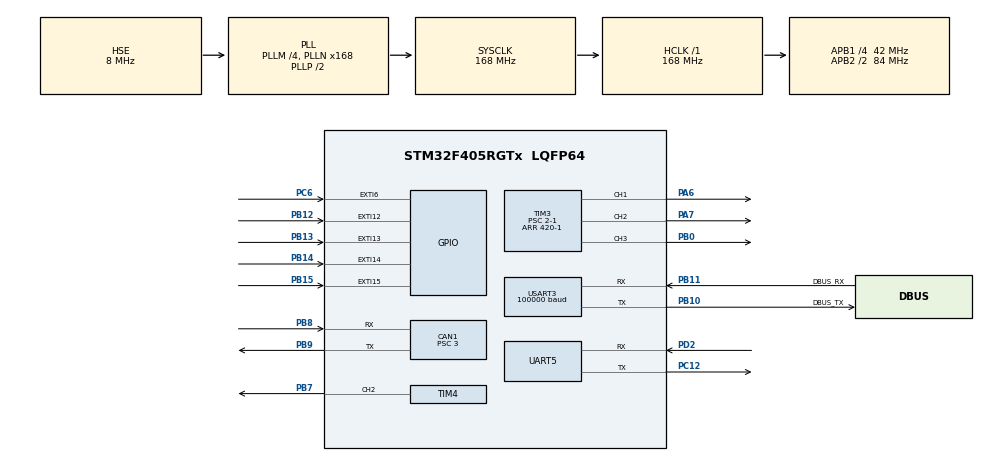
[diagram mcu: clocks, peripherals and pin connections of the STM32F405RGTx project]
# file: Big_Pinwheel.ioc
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CAN1.ABOM=ENABLE
CAN1.BS1=CAN_BS1_9TQ
CAN1.BS2=CAN_BS2_4TQ
CAN1.CalculateTimeQuantum=71.42857142857143
CAN1.Prescaler=3
Dma.Request0=USART3_RX
Dma.USART3_RX.0.Direction=DMA_PERIPH_TO_MEMORY
Dma.USART3_RX.0.FIFOMode=DMA_FIFOMODE_DISABLE
Dma.USART3_RX.0.Instance=DMA1_Stream1
Dma.USART3_RX.0.MemDataAlignment=DMA_MDATAALIGN_BYTE
Dma.USART3_RX.0.MemInc=DMA_MINC_ENABLE
Dma.USART3_RX.0.Mode=DMA_NORMAL
Dma.USART3_RX.0.PeriphDataAlignment=DMA_PDATAALIGN_BYTE
Dma.USART3_RX.0.PeriphInc=DMA_PINC_DISABLE
Dma.USART3_RX.0.Priority=DMA_PRIORITY_LOW
FREERTOS.Tasks01=defaultTask,0,128,StartDefaultTask,Default,NULL
Mcu.Family=STM32F4
Mcu.Name=STM32F405RGTx
Mcu.Package=LQFP64
NVIC.CAN1_RX0_IRQn=true\:5\:0\:false\:false\:true\:true\:true
NVIC.DMA1_Stream1_IRQn=true\:5\:0\:false\:false\:true\:true\:false
NVIC.EXTI15_10_IRQn=true\:5\:0\:false\:false\:true\:true\:true
NVIC.EXTI9_5_IRQn=true\:5\:0\:false\:false\:true\:true\:true
NVIC.PriorityGroup=NVIC_PRIORITYGROUP_4
NVIC.TIM3_IRQn=true\:5\:0\:false\:false\:true\:true\:true
NVIC.TIM4_IRQn=true\:5\:0\:false\:false\:true\:true\:true
NVIC.TIM8_UP_TIM13_IRQn=true\:0\:0\:false\:false\:true\:false\:false
NVIC.TimeBase=TIM8_UP_TIM13_IRQn
NVIC.TimeBaseIP=TIM13
NVIC.USART3_IRQn=true\:5\:0\:false\:false\:true\:true\:true
PA13.Mode=Serial_Wire
PA13.Signal=SYS_JTMS-SWDIO
PA14.Mode=Serial_Wire
PA14.Signal=SYS_JTCK-SWCLK
PA6.GPIO_PuPd=GPIO_PULLDOWN
PA6.GPIO_Speed=GPIO_SPEED_FREQ_VERY_HIGH
PA6.Signal=S_TIM3_CH1
PA7.GPIO_PuPd=GPIO_PULLDOWN
PA7.GPIO_Speed=GPIO_SPEED_FREQ_VERY_HIGH
PA7.Signal=S_TIM3_CH2
PB0.GPIO_PuPd=GPIO_PULLDOWN
PB0.GPIO_Speed=GPIO_SPEED_FREQ_VERY_HIGH
PB0.Signal=S_TIM3_CH3
PB10.GPIO_Label=DBUS_TX
PB10.Mode=Asynchronous
PB10.Signal=USART3_TX
PB11.GPIO_Label=DBUS_RX
PB11.Mode=Asynchronous
PB11.Signal=USART3_RX
PB12.Signal=GPXTI12
PB13.Signal=GPXTI13
PB14.Signal=GPXTI14
PB15.Signal=GPXTI15
PB7.Signal=S_TIM4_CH2
PB8.Mode=Master
PB8.Signal=CAN1_RX
PB9.Mode=Master
PB9.Signal=CAN1_TX
PC12.Mode=Asynchronous
PC12.Signal=UART5_TX
PC6.Signal=GPXTI6
PD2.Mode=Asynchronous
PD2.Signal=UART5_RX
PH0-OSC_IN.Mode=HSE-External-Oscillator
PH0-OSC_IN.Signal=RCC_OSC_IN
PH1-OSC_OUT.Mode=HSE-External-Oscillator
PH1-OSC_OUT.Signal=RCC_OSC_OUT
ProjectManager.HeapSize=0x200
ProjectManager.StackSize=0x400
ProjectManager.TargetToolchain=MDK-ARM V5
RCC.48MHZClocksFreq_Value=84000000
RCC.AHBFreq_Value=168000000
RCC.APB1CLKDivider=RCC_HCLK_DIV4
RCC.APB1Freq_Value=42000000
RCC.APB1TimFreq_Value=84000000
RCC.APB2CLKDivider=RCC_HCLK_DIV2
RCC.APB2Freq_Value=84000000
RCC.APB2TimFreq_Value=168000000
RCC.CortexFreq_Value=168000000
RCC.EnbaleCSS=true
RCC.HCLKFreq_Value=168000000
RCC.HSE_VALUE=8000000
RCC.HSI_VALUE=16000000
RCC.LSE_VALUE=32768
RCC.PLLM=4
RCC.PLLN=168
RCC.PLLSourceVirtual=RCC_PLLSOURCE_HSE
RCC.SYSCLKFreq_VALUE=168000000
RCC.SYSCLKSource=RCC_SYSCLKSOURCE_PLLCLK
RCC.VCOOutputFreq_Value=336000000
SH.S_TIM3_CH1.0=TIM3_CH1,PWM Generation1 CH1
SH.S_TIM3_CH2.0=TIM3_CH2,PWM Generation2 CH2
SH.S_TIM3_CH3.0=TIM3_CH3,PWM Generation3 CH3
SH.S_TIM4_CH2.0=TIM4_CH2,PWM Generation2 CH2
TIM3.Channel-PWM\ Generation1\ CH1=TIM_CHANNEL_1
TIM3.Channel-PWM\ Generation2\ CH2=TIM_CHANNEL_2
TIM3.Channel-PWM\ Generation3\ CH3=TIM_CHANNEL_3
TIM3.Period=420-1
TIM3.Prescaler=2-1
TIM3.Pulse-PWM\ Generation1\ CH1=13-1
TIM3.Pulse-PWM\ Generation2\ CH2=13-1
TIM3.Pulse-PWM\ Generation3\ CH3=13-1
TIM3.TIM_MasterOutputTrigger=TIM_TRGO_UPDATE
TIM4.Channel-PWM\ Generation2\ CH2=TIM_CHANNEL_2
TIM4.Period=3000-1
TIM4.Prescaler=84-1
UART5.VirtualMode=Asynchronous
USART3.BaudRate=100000
USART3.VirtualMode=VM_ASYNC
USART3.WordLength=WORDLENGTH_9B
VP_FREERTOS_VS_ENABLE.Mode=Enabled
VP_SYS_VS_tim13.Mode=TIM13
board=custom

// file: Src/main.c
/**
  ******************************************************************************
  * @file           : main.c
  * @brief          : Main program body
  ******************************************************************************
  * This notice applies to any and all portions of this file
  * that are not between comment pairs USER CODE BEGIN and
  * USER CODE END. Other portions of this file, whether
  * inserted by the user or by software development tools
  * are owned by their respective copyright owners.
  *
  * Copyright (c) 2019 STMicroelectronics International N.V.
  * All rights reserved.
  *
  * Redistribution and use in source and binary forms, with or without
  * modification, are permitted, provided that the following conditions are met:
  *
  * 1. Redistribution of source code must retain the above copyright notice,
  *    this list of conditions and the following disclaimer.
  * 2. Redistributions in binary form must reproduce the above copyright notice,
  *    this list of conditions and the following disclaimer in the documentation
  *    and/or other materials provided with the distribution.
  * 3. Neither the name of STMicroelectronics nor the names of other
  *    contributors to this software may be used to endorse or promote products
  *    derived from this software without specific written permission.
  * 4. This software, including modifications and/or derivative works of this
  *    software, must execute solely and exclusively on microcontroller or
  *    microprocessor devices manufactured by or for STMicroelectronics.
  * 5. Redistribution and use of this software other than as permitted under
  *    this license is void and will automatically terminate your rights under
  *    this license.
  *
  * THIS SOFTWARE IS PROVIDED BY STMICROELECTRONICS AND CONTRIBUTORS "AS IS"
  * AND ANY EXPRESS, IMPLIED OR STATUTORY WARRANTIES, INCLUDING, BUT NOT
  * LIMITED TO, THE IMPLIED WARRANTIES OF MERCHANTABILITY, FITNESS FOR A
  * PARTICULAR PURPOSE AND NON-INFRINGEMENT OF THIRD PARTY INTELLECTUAL PROPERTY
  * RIGHTS ARE DISCLAIMED TO THE FULLEST EXTENT PERMITTED BY LAW. IN NO EVENT
  * SHALL STMICROELECTRONICS OR CONTRIBUTORS BE LIABLE FOR ANY DIRECT, INDIRECT,
  * INCIDENTAL, SPECIAL, EXEMPLARY, OR CONSEQUENTIAL DAMAGES (INCLUDING, BUT NOT
  * LIMITED TO, PROCUREMENT OF SUBSTITUTE GOODS OR SERVICES; LOSS OF USE, DATA,
  * OR PROFITS; OR BUSINESS INTERRUPTION) HOWEVER CAUSED AND ON ANY THEORY OF
  * LIABILITY, WHETHER IN CONTRACT, STRICT LIABILITY, OR TORT (INCLUDING
  * NEGLIGENCE OR OTHERWISE) ARISING IN ANY WAY OUT OF THE USE OF THIS SOFTWARE,
  * EVEN IF ADVISED OF THE POSSIBILITY OF SUCH DAMAGE.
  *
  ******************************************************************************
  */
#include "main.h"
#include "stm32f4xx_hal.h"
#include "cmsis_os.h"
#include "can.h"
#include "dma.h"
#include "tim.h"
#include "usart.h"
#include "gpio.h"

/* USER CODE BEGIN Includes */
#include "define_all.h"
#include "My_SMDLED.h"
/* USER CODE END Includes */

/* USER CODE BEGIN PV */
/* Private variables ---------------------------------------------------------*/

/* USER CODE END PV */

void SystemClock_Config(void);
void MX_FREERTOS_Init(void);

/* USER CODE BEGIN PFP */
/* Private function prototypes -----------------------------------------------*/

/* USER CODE END PFP */

int main(void)
{

  /* MCU Configuration----------------------------------------------------------*/

  /* Reset of all peripherals, Initializes the Flash interface and the Systick. */
  HAL_Init();

  /* Configure the system clock */
  SystemClock_Config();

  /* Initialize all configured peripherals */
  MX_GPIO_Init();
  MX_DMA_Init();
  MX_CAN1_Init();
  MX_TIM3_Init();
  MX_USART3_UART_Init();
  MX_UART5_Init();
  MX_TIM4_Init();
  /* USER CODE BEGIN 2 */
	ARM0_PULSE = 0;
	ARM1_PULSE = 0;
	ARM2_PULSE = 0;
	HAL_TIM_PWM_Start(ARM_TIM,ARM0_CHANNEL);
	HAL_TIM_PWM_Start(ARM_TIM,ARM1_CHANNEL);
	HAL_TIM_PWM_Start(ARM_TIM,ARM2_CHANNEL);
  /* USER CODE END 2 */

  /* Call init function for freertos objects (in freertos.c) */
  MX_FREERTOS_Init();

  /* Start scheduler */
  osKernelStart();

  /* We should never get here as control is now taken by the scheduler */

  /* Infinite loop */
  while (1)
  {

  }

}

void SystemClock_Config(void)
{

  RCC_OscInitTypeDef RCC_OscInitStruct;
  RCC_ClkInitTypeDef RCC_ClkInitStruct;

    /**Configure the main internal regulator output voltage
    */
  __HAL_RCC_PWR_CLK_ENABLE();

  __HAL_PWR_VOLTAGESCALING_CONFIG(PWR_REGULATOR_VOLTAGE_SCALE1);

    /**Initializes the CPU, AHB and APB busses clocks
    */
  RCC_OscInitStruct.OscillatorType = RCC_OSCILLATORTYPE_HSE;
  RCC_OscInitStruct.HSEState = RCC_HSE_ON;
  RCC_OscInitStruct.PLL.PLLState = RCC_PLL_ON;
  RCC_OscInitStruct.PLL.PLLSource = RCC_PLLSOURCE_HSE;
  RCC_OscInitStruct.PLL.PLLM = 4;
  RCC_OscInitStruct.PLL.PLLN = 168;
  RCC_OscInitStruct.PLL.PLLP = RCC_PLLP_DIV2;
  RCC_OscInitStruct.PLL.PLLQ = 4;
  if (HAL_RCC_OscConfig(&RCC_OscInitStruct) != HAL_OK)
  {
    _Error_Handler(__FILE__, __LINE__);
  }

    /**Initializes the CPU, AHB and APB busses clocks
    */
  RCC_ClkInitStruct.ClockType = RCC_CLOCKTYPE_HCLK|RCC_CLOCKTYPE_SYSCLK
                              |RCC_CLOCKTYPE_PCLK1|RCC_CLOCKTYPE_PCLK2;
  RCC_ClkInitStruct.SYSCLKSource = RCC_SYSCLKSOURCE_PLLCLK;
  RCC_ClkInitStruct.AHBCLKDivider = RCC_SYSCLK_DIV1;
  RCC_ClkInitStruct.APB1CLKDivider = RCC_HCLK_DIV4;
  RCC_ClkInitStruct.APB2CLKDivider = RCC_HCLK_DIV2;

  if (HAL_RCC_ClockConfig(&RCC_ClkInitStruct, FLASH_LATENCY_5) != HAL_OK)
  {
    _Error_Handler(__FILE__, __LINE__);
  }

    /**Enables the Clock Security System
    */
  HAL_RCC_EnableCSS();

    /**Configure the Systick interrupt time
    */
  HAL_SYSTICK_Config(HAL_RCC_GetHCLKFreq()/1000);

    /**Configure the Systick
    */
  HAL_SYSTICK_CLKSourceConfig(SYSTICK_CLKSOURCE_HCLK);

  /* SysTick_IRQn interrupt configuration */
  HAL_NVIC_SetPriority(SysTick_IRQn, 15, 0);
}

void HAL_TIM_PeriodElapsedCallback(TIM_HandleTypeDef *htim)
{
  if (htim->Instance == TIM13) {
    HAL_IncTick();
  }
  /* USER CODE BEGIN Callback 1 */
	else if(htim->Instance == TIM3)//
	{
		#ifdef MASTER_CONTROL
			SMD_INSIDE_LED_IT();
		#endif
		#ifdef SECONDARY_CONTROL
			SMD_INSIDE_LED_IT();
		#endif
		#ifdef THIRD_CONTROL
			SMD_OUTSIDE_LED_IT();
		#endif
		#ifdef FOURTH_CONTROL
			SMD_OUTSIDE_LED_IT();
		#endif

	}
  /* USER CODE END Callback 1 */
}

void _Error_Handler(char *file, int line)
{
  while(1)
  {
  }
}

/************************ (C) COPYRIGHT STMicroelectronics *****END OF FILE****/

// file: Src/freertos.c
/* USER CODE BEGIN Header */
/**
  ******************************************************************************
  * File Name          : freertos.c
  * Description        : Code for freertos applications
  ******************************************************************************
  * This notice applies to any and all portions of this file
  * that are not between comment pairs USER CODE BEGIN and
  * USER CODE END. Other portions of this file, whether
  * inserted by the user or by software development tools
  * are owned by their respective copyright owners.
  *
  * Copyright (c) 2019 STMicroelectronics International N.V.
  * All rights reserved.
  *
  * Redistribution and use in source and binary forms, with or without
  * modification, are permitted, provided that the following conditions are met:
  *
  * 1. Redistribution of source code must retain the above copyright notice,
  *    this list of conditions and the following disclaimer.
  * 2. Redistributions in binary form must reproduce the above copyright notice,
  *    this list of conditions and the following disclaimer in the documentation
  *    and/or other materials provided with the distribution.
  * 3. Neither the name of STMicroelectronics nor the names of other
  *    contributors to this software may be used to endorse or promote products
  *    derived from this software without specific written permission.
  * 4. This software, including modifications and/or derivative works of this
  *    software, must execute solely and exclusively on microcontroller or
  *    microprocessor devices manufactured by or for STMicroelectronics.
  * 5. Redistribution and use of this software other than as permitted under
  *    this license is void and will automatically terminate your rights under
  *    this license.
  *
  * THIS SOFTWARE IS PROVIDED BY STMICROELECTRONICS AND CONTRIBUTORS "AS IS"
  * AND ANY EXPRESS, IMPLIED OR STATUTORY WARRANTIES, INCLUDING, BUT NOT
  * LIMITED TO, THE IMPLIED WARRANTIES OF MERCHANTABILITY, FITNESS FOR A
  * PARTICULAR PURPOSE AND NON-INFRINGEMENT OF THIRD PARTY INTELLECTUAL PROPERTY
  * RIGHTS ARE DISCLAIMED TO THE FULLEST EXTENT PERMITTED BY LAW. IN NO EVENT
  * SHALL STMICROELECTRONICS OR CONTRIBUTORS BE LIABLE FOR ANY DIRECT, INDIRECT,
  * INCIDENTAL, SPECIAL, EXEMPLARY, OR CONSEQUENTIAL DAMAGES (INCLUDING, BUT NOT
  * LIMITED TO, PROCUREMENT OF SUBSTITUTE GOODS OR SERVICES; LOSS OF USE, DATA,
  * OR PROFITS; OR BUSINESS INTERRUPTION) HOWEVER CAUSED AND ON ANY THEORY OF
  * LIABILITY, WHETHER IN CONTRACT, STRICT LIABILITY, OR TORT (INCLUDING
  * NEGLIGENCE OR OTHERWISE) ARISING IN ANY WAY OUT OF THE USE OF THIS SOFTWARE,
  * EVEN IF ADVISED OF THE POSSIBILITY OF SUCH DAMAGE.
  *
  ******************************************************************************
  */
/* USER CODE END Header */

#include "FreeRTOS.h"
#include "task.h"
#include "main.h"
#include "cmsis_os.h"

/* USER CODE BEGIN Includes */
#include "Dbus_Uart.h"
#include "Can_Driver.hpp"
#include "My_Car.hpp"
#include "music.h"
#include "define_all.h"
#include "My_SMDLED.h"

#include "Main_Task.h"
#include "Monitor_Task.h"
#include "Other_Tasks.h"
/* USER CODE END Includes */

/* USER CODE BEGIN Variables */
osThreadId MainTaskHandle;
osThreadId MonitorTaskHandle;
osThreadId MusicTaskHandle;
osThreadId TestTaskHandle;
/* USER CODE END Variables */
osThreadId defaultTaskHandle;

void StartDefaultTask(void const * argument);

void MX_FREERTOS_Init(void); /* (MISRA C 2004 rule 8.1) */

void MX_FREERTOS_Init(void) {
  /* USER CODE BEGIN Init */
  Dbus_Uart_Init();                 //DBUS DMA初始化
	MOTOR_Init_All();                 //电机选can
  CAN_Init_All();                   //CAN1初始化
	Music_Play(INTEL);	              //初始化完成声
  /* USER CODE END Init */

  /* Create the thread(s) */
  /* definition and creation of defaultTask */
//  osThreadDef(defaultTask, StartDefaultTask, osPriorityNormal, 0, 128);
//  defaultTaskHandle = osThreadCreate(osThread(defaultTask), NULL);

  /* USER CODE BEGIN RTOS_THREADS */
  /* add threads, ... */
	osThreadDef(MainTask, MainTask, osPriorityRealtime, 0, 128);
  MainTaskHandle = osThreadCreate(osThread(MainTask), NULL);

	#ifdef MASTER_CONTROL//主控
		osThreadDef(MonitorTask, MonitorTask, osPriorityNormal, 0, 32);
		MonitorTaskHandle = osThreadCreate(osThread(MonitorTask), NULL);
	#endif

  osThreadDef(MusicTask, MusicTask, osPriorityNormal, 0, 32);
  MusicTaskHandle = osThreadCreate(osThread(MusicTask), NULL);

	osThreadDef(TestTask, TestTask, osPriorityNormal, 0, 32);
  TestTaskHandle = osThreadCreate(osThread(TestTask), NULL);
  /* USER CODE END RTOS_THREADS */

}

void StartDefaultTask(void const * argument)
{

  for(;;)
  {
    osDelay(1);
  }
}

/************************ (C) COPYRIGHT STMicroelectronics *****END OF FILE****/
